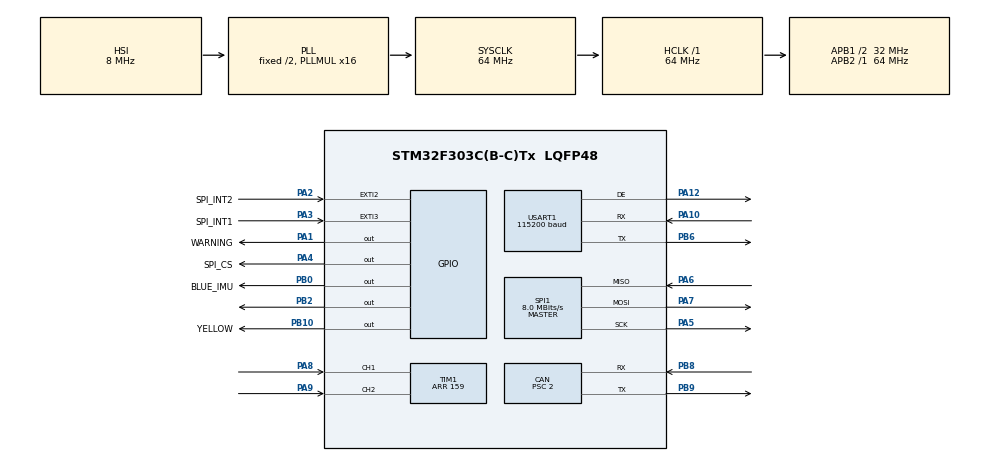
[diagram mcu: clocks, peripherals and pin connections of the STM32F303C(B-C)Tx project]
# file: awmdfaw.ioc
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CAN.BS1=CAN_BS1_13TQ
CAN.BS2=CAN_BS2_2TQ
CAN.CalculateTimeQuantum=62.5
CAN.NART=DISABLE
CAN.Prescaler=2
CAN.SJW=CAN_SJW_1TQ
CAN.TTCM=DISABLE
CAN.TXFP=DISABLE
Dma.Request0=SPI1_RX
Dma.Request1=SPI1_TX
Dma.Request2=USART1_TX
Dma.Request3=USART1_RX
Dma.SPI1_RX.0.Direction=DMA_PERIPH_TO_MEMORY
Dma.SPI1_RX.0.Instance=DMA1_Channel2
Dma.SPI1_RX.0.MemDataAlignment=DMA_MDATAALIGN_BYTE
Dma.SPI1_RX.0.MemInc=DMA_MINC_ENABLE
Dma.SPI1_RX.0.Mode=DMA_NORMAL
Dma.SPI1_RX.0.PeriphDataAlignment=DMA_PDATAALIGN_BYTE
Dma.SPI1_RX.0.PeriphInc=DMA_PINC_DISABLE
Dma.SPI1_RX.0.Priority=DMA_PRIORITY_VERY_HIGH
Dma.SPI1_TX.1.Direction=DMA_MEMORY_TO_PERIPH
Dma.SPI1_TX.1.Instance=DMA1_Channel3
Dma.SPI1_TX.1.MemDataAlignment=DMA_MDATAALIGN_BYTE
Dma.SPI1_TX.1.MemInc=DMA_MINC_ENABLE
Dma.SPI1_TX.1.Mode=DMA_NORMAL
Dma.SPI1_TX.1.PeriphDataAlignment=DMA_PDATAALIGN_BYTE
Dma.SPI1_TX.1.PeriphInc=DMA_PINC_DISABLE
Dma.SPI1_TX.1.Priority=DMA_PRIORITY_VERY_HIGH
Dma.USART1_RX.3.Direction=DMA_PERIPH_TO_MEMORY
Dma.USART1_RX.3.Instance=DMA1_Channel5
Dma.USART1_RX.3.MemDataAlignment=DMA_MDATAALIGN_BYTE
Dma.USART1_RX.3.MemInc=DMA_MINC_ENABLE
Dma.USART1_RX.3.Mode=DMA_CIRCULAR
Dma.USART1_RX.3.PeriphDataAlignment=DMA_PDATAALIGN_BYTE
Dma.USART1_RX.3.PeriphInc=DMA_PINC_DISABLE
Dma.USART1_RX.3.Priority=DMA_PRIORITY_VERY_HIGH
Dma.USART1_TX.2.Direction=DMA_MEMORY_TO_PERIPH
Dma.USART1_TX.2.Instance=DMA1_Channel4
Dma.USART1_TX.2.MemDataAlignment=DMA_MDATAALIGN_BYTE
Dma.USART1_TX.2.MemInc=DMA_MINC_ENABLE
Dma.USART1_TX.2.Mode=DMA_NORMAL
Dma.USART1_TX.2.PeriphDataAlignment=DMA_PDATAALIGN_BYTE
Dma.USART1_TX.2.PeriphInc=DMA_PINC_DISABLE
Dma.USART1_TX.2.Priority=DMA_PRIORITY_VERY_HIGH
Mcu.Family=STM32F3
Mcu.Name=STM32F303C(B-C)Tx
Mcu.Package=LQFP48
NVIC.CAN_RX1_IRQn=true\:0\:0\:false\:false\:true\:true
NVIC.CAN_SCE_IRQn=true\:0\:0\:false\:false\:true\:true
NVIC.DMA1_Channel2_IRQn=true\:0\:0\:false\:false\:true\:false
NVIC.DMA1_Channel3_IRQn=true\:0\:0\:false\:false\:true\:false
NVIC.DMA1_Channel4_IRQn=true\:0\:0\:false\:false\:true\:false
NVIC.DMA1_Channel5_IRQn=true\:0\:0\:false\:false\:true\:false
NVIC.EXTI2_TSC_IRQn=true\:0\:0\:false\:false\:true\:true
NVIC.EXTI3_IRQn=true\:0\:0\:false\:false\:true\:true
NVIC.PriorityGroup=NVIC_PRIORITYGROUP_4
NVIC.SPI1_IRQn=true\:0\:0\:false\:false\:true\:true
NVIC.TIM1_UP_TIM16_IRQn=true\:0\:0\:false\:false\:true\:true
NVIC.TIM3_IRQn=true\:0\:0\:false\:false\:true\:true
NVIC.USART1_IRQn=true\:0\:0\:false\:false\:true\:true
NVIC.USB_HP_CAN_TX_IRQn=true\:0\:0\:false\:false\:true\:true
NVIC.USB_LP_CAN_RX0_IRQn=true\:0\:0\:false\:false\:true\:true
PA1.GPIO_Label=WARNING
PA1.GPIO_Speed=GPIO_SPEED_FREQ_HIGH
PA1.Signal=GPIO_Output
PA10.Mode=Asynchronous
PA10.Signal=USART1_RX
PA12.Mode=Hardware Flow Control (RS485)
PA12.Signal=USART1_DE
PA2.GPIO_Label=SPI_INT2
PA2.Signal=GPXTI2
PA3.GPIO_Label=SPI_INT1
PA3.Signal=GPXTI3
PA4.GPIO_Label=SPI_CS
PA4.GPIO_Speed=GPIO_SPEED_FREQ_HIGH
PA4.Signal=GPIO_Output
PA5.Mode=Full_Duplex_Master
PA5.Signal=SPI1_SCK
PA6.Mode=Full_Duplex_Master
PA6.Signal=SPI1_MISO
PA7.Mode=Full_Duplex_Master
PA7.Signal=SPI1_MOSI
PA8.Signal=S_TIM1_CH1
PA9.Signal=S_TIM1_CH2
PB0.GPIO_Label=BLUE_IMU
PB0.GPIO_Speed=GPIO_SPEED_FREQ_HIGH
PB0.Signal=GPIO_Output
PB10.GPIO_Label=YELLOW
PB10.GPIO_Speed=GPIO_SPEED_FREQ_HIGH
PB10.Signal=GPIO_Output
PB2.Signal=GPIO_Output
PB6.Mode=Asynchronous
PB6.Signal=USART1_TX
PB8.Mode=Master
PB8.Signal=CAN_RX
PB9.Mode=Master
PB9.Signal=CAN_TX
ProjectManager.HeapSize=0x200
ProjectManager.StackSize=0x400
ProjectManager.TargetToolchain=SW4STM32
RCC.AHBFreq_Value=64000000
RCC.APB1CLKDivider=RCC_HCLK_DIV2
RCC.APB1Freq_Value=32000000
RCC.APB1TimFreq_Value=64000000
RCC.APB2Freq_Value=64000000
RCC.APB2TimFreq_Value=64000000
RCC.CortexFreq_Value=64000000
RCC.HCLKFreq_Value=64000000
RCC.HSE_VALUE=8000000
RCC.HSI_VALUE=8000000
RCC.LSE_VALUE=32768
RCC.PLLMUL=RCC_PLL_MUL16
RCC.SYSCLKFreq_VALUE=64000000
RCC.SYSCLKSourceVirtual=RCC_SYSCLKSOURCE_PLLCLK
RCC.USBFreq_Value=64000000
SH.S_TIM1_CH1.0=TIM1_CH1,Encoder_Interface
SH.S_TIM1_CH2.0=TIM1_CH2,Encoder_Interface
SPI1.BaudRatePrescaler=SPI_BAUDRATEPRESCALER_8
SPI1.CLKPhase=SPI_PHASE_2EDGE
SPI1.CLKPolarity=SPI_POLARITY_HIGH
SPI1.CalculateBaudRate=8.0 MBits/s
SPI1.DataSize=SPI_DATASIZE_8BIT
SPI1.Direction=SPI_DIRECTION_2LINES
SPI1.Mode=SPI_MODE_MASTER
SPI1.VirtualType=VM_MASTER
TIM1.EncoderMode=TIM_ENCODERMODE_TI12
TIM1.Period=159
TIM2.Period=4294967295
TIM2.Prescaler=63
TIM3.AutoReloadPreload=TIM_AUTORELOAD_PRELOAD_ENABLE
TIM3.Period=100
TIM3.Prescaler=63999
USART1.BaudRate=115200
USART1.UART_DEAssertionTime=3
USART1.UART_DEDeassertionTime=3
USART1.UART_DEPolarity=UART_DE_POLARITY_HIGH
USART1.VirtualMode-Asynchronous=VM_ASYNC
USART1.VirtualMode-Hardware\ Flow\ Control\ (RS485)=VM_ASYNC
VP_TIM2_VS_ClockSourceINT.Mode=Internal
VP_TIM3_VS_ClockSourceINT.Mode=Internal
board=custom

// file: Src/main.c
/* USER CODE BEGIN Header */
/**
  ******************************************************************************
  * @file           : main.c
  * @brief          : Main program body
  ******************************************************************************
  ** This notice applies to any and all portions of this file
  * that are not between comment pairs USER CODE BEGIN and
  * USER CODE END. Other portions of this file, whether
  * inserted by the user or by software development tools
  * are owned by their respective copyright owners.
  *
  * COPYRIGHT(c) 2018 STMicroelectronics
  *
  * Redistribution and use in source and binary forms, with or without modification,
  * are permitted provided that the following conditions are met:
  *   1. Redistributions of source code must retain the above copyright notice,
  *      this list of conditions and the following disclaimer.
  *   2. Redistributions in binary form must reproduce the above copyright notice,
  *      this list of conditions and the following disclaimer in the documentation
  *      and/or other materials provided with the distribution.
  *   3. Neither the name of STMicroelectronics nor the names of its contributors
  *      may be used to endorse or promote products derived from this software
  *      without specific prior written permission.
  *
  * THIS SOFTWARE IS PROVIDED BY THE COPYRIGHT HOLDERS AND CONTRIBUTORS "AS IS"
  * AND ANY EXPRESS OR IMPLIED WARRANTIES, INCLUDING, BUT NOT LIMITED TO, THE
  * IMPLIED WARRANTIES OF MERCHANTABILITY AND FITNESS FOR A PARTICULAR PURPOSE ARE
  * DISCLAIMED. IN NO EVENT SHALL THE COPYRIGHT HOLDER OR CONTRIBUTORS BE LIABLE
  * FOR ANY DIRECT, INDIRECT, INCIDENTAL, SPECIAL, EXEMPLARY, OR CONSEQUENTIAL
  * DAMAGES (INCLUDING, BUT NOT LIMITED TO, PROCUREMENT OF SUBSTITUTE GOODS OR
  * SERVICES; LOSS OF USE, DATA, OR PROFITS; OR BUSINESS INTERRUPTION) HOWEVER
  * CAUSED AND ON ANY THEORY OF LIABILITY, WHETHER IN CONTRACT, STRICT LIABILITY,
  * OR TORT (INCLUDING NEGLIGENCE OR OTHERWISE) ARISING IN ANY WAY OUT OF THE USE
  * OF THIS SOFTWARE, EVEN IF ADVISED OF THE POSSIBILITY OF SUCH DAMAGE.
  *
  ******************************************************************************
  */
/* USER CODE END Header */

#include "main.h"

/* USER CODE BEGIN Includes */
#include "LSM6DSL_Driver.h"
#include <math.h>
/* USER CODE END Includes */

CAN_HandleTypeDef hcan;

SPI_HandleTypeDef hspi1;
DMA_HandleTypeDef hdma_spi1_rx;
DMA_HandleTypeDef hdma_spi1_tx;

TIM_HandleTypeDef htim1;
TIM_HandleTypeDef htim2;
TIM_HandleTypeDef htim3;

UART_HandleTypeDef huart1;
DMA_HandleTypeDef hdma_usart1_tx;
DMA_HandleTypeDef hdma_usart1_rx;

void SystemClock_Config(void);
static void MX_GPIO_Init(void);
static void MX_DMA_Init(void);
static void MX_SPI1_Init(void);
static void MX_CAN_Init(void);
static void MX_TIM2_Init(void);
static void MX_TIM1_Init(void);
static void MX_TIM3_Init(void);
static void MX_USART1_UART_Init(void);
/* USER CODE BEGIN PFP */
void ini_enc_tim(void)
{
	MX_TIM1_Init();
}
void ini_imit_tim(void)
{
	MX_TIM3_Init();
}
/* USER CODE END PFP */

/* USER CODE BEGIN 0 */
extern uint8_t FLAGGYRO;
extern int16_t gyrodata;
/* USER CODE END 0 */

int main(void)
{

  /* MCU Configuration--------------------------------------------------------*/

  /* Reset of all peripherals, Initializes the Flash interface and the Systick. */
  HAL_Init();

  /* Configure the system clock */
  SystemClock_Config();

  /* Initialize all configured peripherals */
  MX_GPIO_Init();
  MX_DMA_Init();
  MX_SPI1_Init();
  MX_CAN_Init();
  MX_TIM2_Init();
  MX_TIM1_Init();
  MX_TIM3_Init();
  MX_USART1_UART_Init();
  /* USER CODE BEGIN 2 */

  HAL_Delay(100);
  Reset_AverageAcc();
  Reset_Bumps();

  start_cmd_receiving(&huart1);

 // HSOW2_CAN_Init();
  LSM6DSL_Init();
  Is_this_LSM6DSL();
  HSOW2_Way_Init();

 // HAL_HalfDuplex_Init(&huart1);
  /* USER CODE END 2 */

  /* Infinite loop */
  /* USER CODE BEGIN WHILE */
  while (1)
  {
	// LSM6DSL_Read_data();
	// for (int i=0; i<5000; i++) {;}
	  if (FLAGGYRO) {
		  IntegrateGyroData(gyrodata);
		  FLAGGYRO = 0;
	  }
//	  HAL_Delay(30);
    /* USER CODE END WHILE */

  }
}

void SystemClock_Config(void)
{
  RCC_OscInitTypeDef RCC_OscInitStruct = {0};
  RCC_ClkInitTypeDef RCC_ClkInitStruct = {0};
  RCC_PeriphCLKInitTypeDef PeriphClkInit = {0};

  /**Initializes the CPU, AHB and APB busses clocks
  */
  RCC_OscInitStruct.OscillatorType = RCC_OSCILLATORTYPE_HSI;
  RCC_OscInitStruct.HSIState = RCC_HSI_ON;
  RCC_OscInitStruct.HSICalibrationValue = RCC_HSICALIBRATION_DEFAULT;
  RCC_OscInitStruct.PLL.PLLState = RCC_PLL_ON;
  RCC_OscInitStruct.PLL.PLLSource = RCC_PLLSOURCE_HSI;
  RCC_OscInitStruct.PLL.PLLMUL = RCC_PLL_MUL16;
  if (HAL_RCC_OscConfig(&RCC_OscInitStruct) != HAL_OK)
  {
    Error_Handler();
  }
  /**Initializes the CPU, AHB and APB busses clocks
  */
  RCC_ClkInitStruct.ClockType = RCC_CLOCKTYPE_HCLK|RCC_CLOCKTYPE_SYSCLK
                              |RCC_CLOCKTYPE_PCLK1|RCC_CLOCKTYPE_PCLK2;
  RCC_ClkInitStruct.SYSCLKSource = RCC_SYSCLKSOURCE_PLLCLK;
  RCC_ClkInitStruct.AHBCLKDivider = RCC_SYSCLK_DIV1;
  RCC_ClkInitStruct.APB1CLKDivider = RCC_HCLK_DIV2;
  RCC_ClkInitStruct.APB2CLKDivider = RCC_HCLK_DIV1;

  if (HAL_RCC_ClockConfig(&RCC_ClkInitStruct, FLASH_LATENCY_2) != HAL_OK)
  {
    Error_Handler();
  }
  PeriphClkInit.PeriphClockSelection = RCC_PERIPHCLK_USART1|RCC_PERIPHCLK_TIM1;
  PeriphClkInit.Usart1ClockSelection = RCC_USART1CLKSOURCE_PCLK2;
  PeriphClkInit.Tim1ClockSelection = RCC_TIM1CLK_HCLK;
  if (HAL_RCCEx_PeriphCLKConfig(&PeriphClkInit) != HAL_OK)
  {
    Error_Handler();
  }
}

static void MX_CAN_Init(void)
{

  hcan.Instance = CAN;
  hcan.Init.Prescaler = 2;
  hcan.Init.Mode = CAN_MODE_NORMAL;
  hcan.Init.SyncJumpWidth = CAN_SJW_1TQ;
  hcan.Init.TimeSeg1 = CAN_BS1_13TQ;
  hcan.Init.TimeSeg2 = CAN_BS2_2TQ;
  hcan.Init.TimeTriggeredMode = DISABLE;
  hcan.Init.AutoBusOff = DISABLE;
  hcan.Init.AutoWakeUp = DISABLE;
  hcan.Init.AutoRetransmission = DISABLE;
  hcan.Init.ReceiveFifoLocked = DISABLE;
  hcan.Init.TransmitFifoPriority = DISABLE;
  if (HAL_CAN_Init(&hcan) != HAL_OK)
  {
    Error_Handler();
  }

}

static void MX_SPI1_Init(void)
{

  /* SPI1 parameter configuration*/
  hspi1.Instance = SPI1;
  hspi1.Init.Mode = SPI_MODE_MASTER;
  hspi1.Init.Direction = SPI_DIRECTION_2LINES;
  hspi1.Init.DataSize = SPI_DATASIZE_8BIT;
  hspi1.Init.CLKPolarity = SPI_POLARITY_HIGH;
  hspi1.Init.CLKPhase = SPI_PHASE_2EDGE;
  hspi1.Init.NSS = SPI_NSS_SOFT;
  hspi1.Init.BaudRatePrescaler = SPI_BAUDRATEPRESCALER_8;
  hspi1.Init.FirstBit = SPI_FIRSTBIT_MSB;
  hspi1.Init.TIMode = SPI_TIMODE_DISABLE;
  hspi1.Init.CRCCalculation = SPI_CRCCALCULATION_DISABLE;
  hspi1.Init.CRCPolynomial = 7;
  hspi1.Init.CRCLength = SPI_CRC_LENGTH_DATASIZE;
  hspi1.Init.NSSPMode = SPI_NSS_PULSE_DISABLE;
  if (HAL_SPI_Init(&hspi1) != HAL_OK)
  {
    Error_Handler();
  }

}

static void MX_TIM1_Init(void)
{

  TIM_Encoder_InitTypeDef sConfig = {0};
  TIM_MasterConfigTypeDef sMasterConfig = {0};

  htim1.Instance = TIM1;
  htim1.Init.Prescaler = 0;
  htim1.Init.CounterMode = TIM_COUNTERMODE_UP;
  htim1.Init.Period = 159;
  htim1.Init.ClockDivision = TIM_CLOCKDIVISION_DIV1;
  htim1.Init.RepetitionCounter = 0;
  htim1.Init.AutoReloadPreload = TIM_AUTORELOAD_PRELOAD_DISABLE;
  sConfig.EncoderMode = TIM_ENCODERMODE_TI12;
  sConfig.IC1Polarity = TIM_ICPOLARITY_RISING;
  sConfig.IC1Selection = TIM_ICSELECTION_DIRECTTI;
  sConfig.IC1Prescaler = TIM_ICPSC_DIV1;
  sConfig.IC1Filter = 0;
  sConfig.IC2Polarity = TIM_ICPOLARITY_RISING;
  sConfig.IC2Selection = TIM_ICSELECTION_DIRECTTI;
  sConfig.IC2Prescaler = TIM_ICPSC_DIV1;
  sConfig.IC2Filter = 0;
  if (HAL_TIM_Encoder_Init(&htim1, &sConfig) != HAL_OK)
  {
    Error_Handler();
  }
  sMasterConfig.MasterOutputTrigger = TIM_TRGO_RESET;
  sMasterConfig.MasterOutputTrigger2 = TIM_TRGO2_RESET;
  sMasterConfig.MasterSlaveMode = TIM_MASTERSLAVEMODE_DISABLE;
  if (HAL_TIMEx_MasterConfigSynchronization(&htim1, &sMasterConfig) != HAL_OK)
  {
    Error_Handler();
  }

}

static void MX_TIM2_Init(void)
{

  TIM_ClockConfigTypeDef sClockSourceConfig = {0};
  TIM_MasterConfigTypeDef sMasterConfig = {0};

  htim2.Instance = TIM2;
  htim2.Init.Prescaler = 63;
  htim2.Init.CounterMode = TIM_COUNTERMODE_UP;
  htim2.Init.Period = 4294967295;
  htim2.Init.ClockDivision = TIM_CLOCKDIVISION_DIV1;
  htim2.Init.AutoReloadPreload = TIM_AUTORELOAD_PRELOAD_DISABLE;
  if (HAL_TIM_Base_Init(&htim2) != HAL_OK)
  {
    Error_Handler();
  }
  sClockSourceConfig.ClockSource = TIM_CLOCKSOURCE_INTERNAL;
  if (HAL_TIM_ConfigClockSource(&htim2, &sClockSourceConfig) != HAL_OK)
  {
    Error_Handler();
  }
  sMasterConfig.MasterOutputTrigger = TIM_TRGO_RESET;
  sMasterConfig.MasterSlaveMode = TIM_MASTERSLAVEMODE_DISABLE;
  if (HAL_TIMEx_MasterConfigSynchronization(&htim2, &sMasterConfig) != HAL_OK)
  {
    Error_Handler();
  }

}

static void MX_TIM3_Init(void)
{

  TIM_ClockConfigTypeDef sClockSourceConfig = {0};
  TIM_MasterConfigTypeDef sMasterConfig = {0};

  /* USER CODE BEGIN TIM3_Init 1 */
/* 64 Mhz/64 000 = 1000 Hz = 1ms*/
  /* USER CODE END TIM3_Init 1 */
  htim3.Instance = TIM3;
  htim3.Init.Prescaler = 63999;
  htim3.Init.CounterMode = TIM_COUNTERMODE_UP;
  htim3.Init.Period = 100;
  htim3.Init.ClockDivision = TIM_CLOCKDIVISION_DIV1;
  htim3.Init.AutoReloadPreload = TIM_AUTORELOAD_PRELOAD_ENABLE;
  if (HAL_TIM_Base_Init(&htim3) != HAL_OK)
  {
    Error_Handler();
  }
  sClockSourceConfig.ClockSource = TIM_CLOCKSOURCE_INTERNAL;
  if (HAL_TIM_ConfigClockSource(&htim3, &sClockSourceConfig) != HAL_OK)
  {
    Error_Handler();
  }
  sMasterConfig.MasterOutputTrigger = TIM_TRGO_RESET;
  sMasterConfig.MasterSlaveMode = TIM_MASTERSLAVEMODE_DISABLE;
  if (HAL_TIMEx_MasterConfigSynchronization(&htim3, &sMasterConfig) != HAL_OK)
  {
    Error_Handler();
  }

}

static void MX_USART1_UART_Init(void)
{

  huart1.Instance = USART1;
  huart1.Init.BaudRate = 115200;
  huart1.Init.WordLength = UART_WORDLENGTH_8B;
  huart1.Init.StopBits = UART_STOPBITS_1;
  huart1.Init.Parity = UART_PARITY_NONE;
  huart1.Init.Mode = UART_MODE_TX_RX;
  huart1.Init.HwFlowCtl = UART_HWCONTROL_NONE;
  huart1.Init.OverSampling = UART_OVERSAMPLING_16;
  huart1.Init.OneBitSampling = UART_ONE_BIT_SAMPLE_DISABLE;
  huart1.AdvancedInit.AdvFeatureInit = UART_ADVFEATURE_NO_INIT;
  if (HAL_RS485Ex_Init(&huart1, UART_DE_POLARITY_HIGH, 3, 3) != HAL_OK)
  {
    Error_Handler();
  }

}

static void MX_DMA_Init(void)
{
  /* DMA controller clock enable */
  __HAL_RCC_DMA1_CLK_ENABLE();

  /* DMA interrupt init */
  /* DMA1_Channel2_IRQn interrupt configuration */
  HAL_NVIC_SetPriority(DMA1_Channel2_IRQn, 0, 0);
  HAL_NVIC_EnableIRQ(DMA1_Channel2_IRQn);
  /* DMA1_Channel3_IRQn interrupt configuration */
  HAL_NVIC_SetPriority(DMA1_Channel3_IRQn, 0, 0);
  HAL_NVIC_EnableIRQ(DMA1_Channel3_IRQn);
  /* DMA1_Channel4_IRQn interrupt configuration */
  HAL_NVIC_SetPriority(DMA1_Channel4_IRQn, 0, 0);
  HAL_NVIC_EnableIRQ(DMA1_Channel4_IRQn);
  /* DMA1_Channel5_IRQn interrupt configuration */
  HAL_NVIC_SetPriority(DMA1_Channel5_IRQn, 0, 0);
  HAL_NVIC_EnableIRQ(DMA1_Channel5_IRQn);

}

static void MX_GPIO_Init(void)
{
  GPIO_InitTypeDef GPIO_InitStruct = {0};

  /* GPIO Ports Clock Enable */
  __HAL_RCC_GPIOA_CLK_ENABLE();
  __HAL_RCC_GPIOB_CLK_ENABLE();

  /*Configure GPIO pin Output Level */
  HAL_GPIO_WritePin(GPIOA, WARNING_Pin|SPI_CS_Pin, GPIO_PIN_RESET);

  /*Configure GPIO pin Output Level */
  HAL_GPIO_WritePin(GPIOB, BLUE_IMU_Pin|GPIO_PIN_2|YELLOW_Pin, GPIO_PIN_RESET);

  /*Configure GPIO pins : WARNING_Pin SPI_CS_Pin */
  GPIO_InitStruct.Pin = WARNING_Pin|SPI_CS_Pin;
  GPIO_InitStruct.Mode = GPIO_MODE_OUTPUT_PP;
  GPIO_InitStruct.Pull = GPIO_NOPULL;
  GPIO_InitStruct.Speed = GPIO_SPEED_FREQ_HIGH;
  HAL_GPIO_Init(GPIOA, &GPIO_InitStruct);

  /*Configure GPIO pins : SPI_INT2_Pin SPI_INT1_Pin */
  GPIO_InitStruct.Pin = SPI_INT2_Pin|SPI_INT1_Pin;
  GPIO_InitStruct.Mode = GPIO_MODE_IT_RISING;
  GPIO_InitStruct.Pull = GPIO_NOPULL;
  HAL_GPIO_Init(GPIOA, &GPIO_InitStruct);

  /*Configure GPIO pins : BLUE_IMU_Pin YELLOW_Pin */
  GPIO_InitStruct.Pin = BLUE_IMU_Pin|YELLOW_Pin;
  GPIO_InitStruct.Mode = GPIO_MODE_OUTPUT_PP;
  GPIO_InitStruct.Pull = GPIO_NOPULL;
  GPIO_InitStruct.Speed = GPIO_SPEED_FREQ_HIGH;
  HAL_GPIO_Init(GPIOB, &GPIO_InitStruct);

  /*Configure GPIO pin : PB2 */
  GPIO_InitStruct.Pin = GPIO_PIN_2;
  GPIO_InitStruct.Mode = GPIO_MODE_OUTPUT_PP;
  GPIO_InitStruct.Pull = GPIO_NOPULL;
  GPIO_InitStruct.Speed = GPIO_SPEED_FREQ_LOW;
  HAL_GPIO_Init(GPIOB, &GPIO_InitStruct);

  /* EXTI interrupt init*/
  HAL_NVIC_SetPriority(EXTI2_TSC_IRQn, 0, 0);
  HAL_NVIC_EnableIRQ(EXTI2_TSC_IRQn);

  HAL_NVIC_SetPriority(EXTI3_IRQn, 0, 0);
  HAL_NVIC_EnableIRQ(EXTI3_IRQn);

}

/* USER CODE BEGIN 4 */
//  int16_t acdata[100]={0};
//  int16_t mindata=100,maxdata=0;
//  float avrdata=0; int16_t avrdatai=100;
//  double sqdev=0;
//  for (int i=0; i<100; i++)
//	  acdata[i]=i*i;
//	  HAL_GPIO_TogglePin(GREEN_GPIO_Port, GREEN_Pin);
//	  for (int i=0; i<100; i++) {
//	  	  if (mindata>acdata[i]) mindata=acdata[i];
//	  	  if (maxdata<acdata[i]) maxdata=acdata[i];
//	  	  avrdata+=acdata[i]/100;
//	  }
//	  avrdatai=avrdata;
//	  for (int i=0; i<100; i++) {
//		  sqdev+=(acdata[i]-avrdatai)^2/100;
//	  }
	//  sqdev=sqrt(sqdev);
//	  HAL_GPIO_TogglePin(GREEN_GPIO_Port, GREEN_Pin);
/* USER CODE END 4 */

void Error_Handler(void)
{
}

/************************ (C) COPYRIGHT STMicroelectronics *****END OF FILE****/
